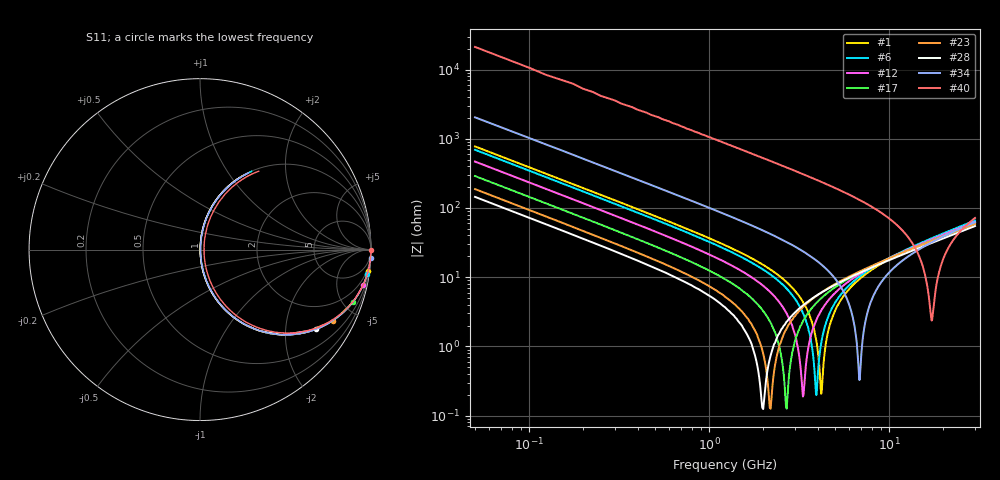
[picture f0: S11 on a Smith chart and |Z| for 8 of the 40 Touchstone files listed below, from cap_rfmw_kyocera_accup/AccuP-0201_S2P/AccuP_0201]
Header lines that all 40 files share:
!	AVX Thin Film Operation 	Date: April 2014
!	Description: Accu-P® Series, Thin Film  SMD RF Capacitor
# MHZ S MA R 50
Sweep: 50 MHz to 30 GHz
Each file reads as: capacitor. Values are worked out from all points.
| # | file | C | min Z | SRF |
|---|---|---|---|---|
| 1 | C0201SE4r1.s2p | 4.1 pF | 206 mohm | 4.2 GHz |
| 2 | C0201SE4r2.s2p | 4.2 pF | 205 mohm | 4.201 GHz |
| 3 | C0201SE4r3.s2p | 4.3 pF | 204 mohm | 4.101 GHz |
| 4 | C0201SE4r4.s2p | 4.4 pF | 200 mohm | 4.115 GHz |
| 5 | C0201SE4r5.s2p | 4.5 pF | 202 mohm | 4.059 GHz |
| 6 | C0201SE4r6.s2p | 4.6 pF | 198 mohm | 3.938 GHz |
| 7 | C0201SE4r7.s2p | 4.7 pF | 195 mohm | 3.941 GHz |
| 8 | C0201SE5r0.s2p | 5 pF | 197 mohm | 3.88 GHz |
| 9 | C0201SE5r1.s2p | 5.1 pF | 195 mohm | 3.83 GHz |
| 10 | C0201SE5r6.s2p | 5.6 pF | 188 mohm | 3.655 GHz |
| 11 | C0201SE6r2.s2p | 6.2 pF | 189 mohm | 3.505 GHz |
| 12 | C0201SE6r8.s2p | 6.8 pF | 188 mohm | 3.327 GHz |
| 13 | C0201SE7r5.s2p | 7.5 pF | 183 mohm | 3.197 GHz |
| 14 | C0201SE8r2.s2p | 8.2 pF | 180 mohm | 3.021 GHz |
| 15 | C0201SE9r1.s2p | 9.1 pF | 177 mohm | 2.893 GHz |
| 16 | C0201SE100.s2p | 10 pF | 124 mohm | 2.818 GHz |
| 17 | C0201SE110.s2p | 11 pF | 126 mohm | 2.687 GHz |
| 18 | C0201SE120.s2p | 12 pF | 126 mohm | 2.51 GHz |
| 19 | C0201SE130.s2p | 13 pF | 123 mohm | 2.43 GHz |
| 20 | C0201SE140.s2p | 14 pF | 119 mohm | 2.4 GHz |
| 21 | C0201SE150.s2p | 15 pF | 118 mohm | 2.373 GHz |
| 22 | C0201SE160.s2p | 16 pF | 122 mohm | 2.214 GHz |
| 23 | C0201SE170.s2p | 17 pF | 126 mohm | 2.185 GHz |
| 24 | C0201SE180.s2p | 18 pF | 119 mohm | 2.143 GHz |
| 25 | C0201SE190.s2p | 19 pF | 124 mohm | 2.112 GHz |
| 26 | C0201SE200.s2p | 20 pF | 121 mohm | 2.065 GHz |
| 27 | C0201SE210.s2p | 21 pF | 121 mohm | 2.015 GHz |
| 28 | C0201SE220.s2p | 22 pF | 124 mohm | 1.987 GHz |
| 29 | C0201SEA05.s2p | 1.05 pF | 502 mohm | 8.214 GHz |
| 30 | C0201SEA15.s2p | 1.15 pF | 489 mohm | 7.849 GHz |
| 31 | C0201SEA25.s2p | 1.25 pF | 421 mohm | 7.529 GHz |
| 32 | C0201SEA35.s2p | 1.35 pF | 402 mohm | 7.335 GHz |
| 33 | C0201SEA45.s2p | 1.45 pF | 388 mohm | 7.077 GHz |
| 34 | C0201SEA55.s2p | 1.55 pF | 325 mohm | 6.845 GHz |
| 35 | C0201SEA65.s2p | 1.65 pF | 323 mohm | 6.553 GHz |
| 36 | C0201SEA75.s2p | 1.75 pF | 314 mohm | 6.442 GHz |
| 37 | C0201SEA85.s2p | 1.85 pF | 309 mohm | 6.189 GHz |
| 38 | C0201SEA95.s2p | 1.95 pF | 308 mohm | 6.103 GHz |
| 39 | C0201SEr05.s2p | 50 fF | 3.95 ohm | 20.89 GHz |
| 40 | C0201SEr15.s2p | 151 fF | 2.35 ohm | 17.25 GHz |
